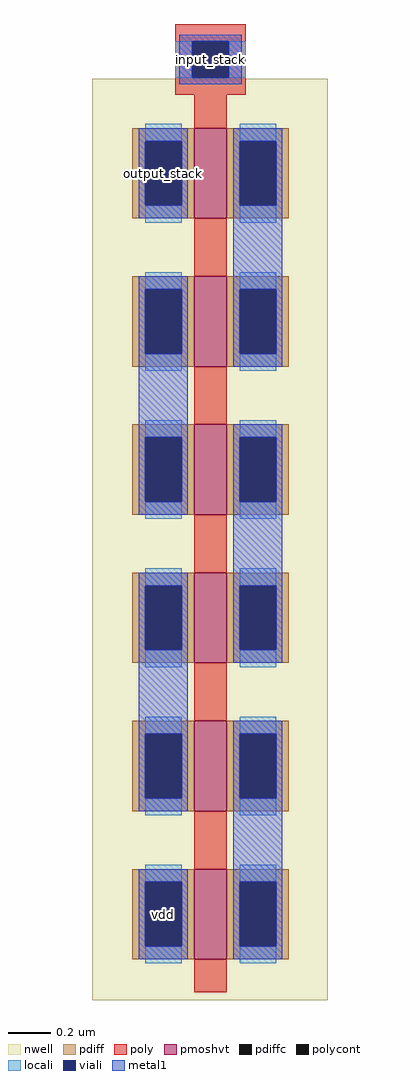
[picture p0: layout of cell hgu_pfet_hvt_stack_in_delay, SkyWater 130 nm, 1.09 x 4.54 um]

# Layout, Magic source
magic
tech sky130A
magscale 1 2
<< nwell >>
rect 143 879 173 884
<< poly >>
rect 125 931 191 947
rect 125 897 141 931
rect 175 897 191 931
rect 125 881 191 897
rect 143 879 173 881
<< polycont >>
rect 141 897 175 931
<< locali >>
rect 125 897 141 931
rect 175 897 191 931
<< viali >>
rect 141 897 175 931
<< metal1 >>
rect 129 931 187 937
rect 129 897 141 931
rect 175 897 187 931
rect 129 891 187 897
rect 179 708 225 769
rect 91 572 137 633
rect 179 432 225 493
rect 91 294 137 355
rect 179 156 225 217
use sky130_fd_pr__pfet_01v8_hvt_M479BZ  XM1
transform 1 0 158 0 1 808
box -110 -78 110 90
use sky130_fd_pr__pfet_01v8_hvt_M479BZ  XM2
transform 1 0 158 0 1 670
box -110 -78 110 90
use sky130_fd_pr__pfet_01v8_hvt_M479BZ  XM3
transform 1 0 158 0 1 532
box -110 -78 110 90
use sky130_fd_pr__pfet_01v8_hvt_M479BZ  XM4
transform 1 0 158 0 1 394
box -110 -78 110 90
use sky130_fd_pr__pfet_01v8_hvt_M479BZ  XM5
transform 1 0 158 0 1 256
box -110 -78 110 90
use sky130_fd_pr__pfet_01v8_hvt_M479BZ  XM6
transform 1 0 158 0 1 118
box -110 -78 110 90
<< labels >>
flabel metal1 141 897 175 931 0 FreeSans 320 0 0 0 input_stack
port 0 nsew
flabel space 97 88 131 148 0 FreeSans 320 0 0 0 vdd
port 1 nsew
flabel space 97 778 131 838 0 FreeSans 320 0 0 0 output_stack
port 3 nsew
<< end >>

# cell sky130_fd_pr__pfet_01v8_hvt_M479BZ: kit device sky130_fd_pr__pfet_01v8_hvt, w 0.42 l 0.15 m 1 nf 1 diffcov 100 polycov 100 guard 1 glc 1 grc 1 gtc 1 gbc 1 tbcov 100 rlcov 100 topc 1 botc 1 poverlap 0 doverlap 1 lmin 0.15 wmin 0.42 compatible {sky130_fd_pr__pfet_01v8 sky130_fd_pr__pfet_01v8_lvt sky130_fd_pr__pfet_01v8_hvt sky130_fd_pr__pfet_g5v0d10v5} full_metal 1 viasrc 100 viadrn 100 viagate 100 viagb 0 viagr 0 viagl 0 viagt 0
